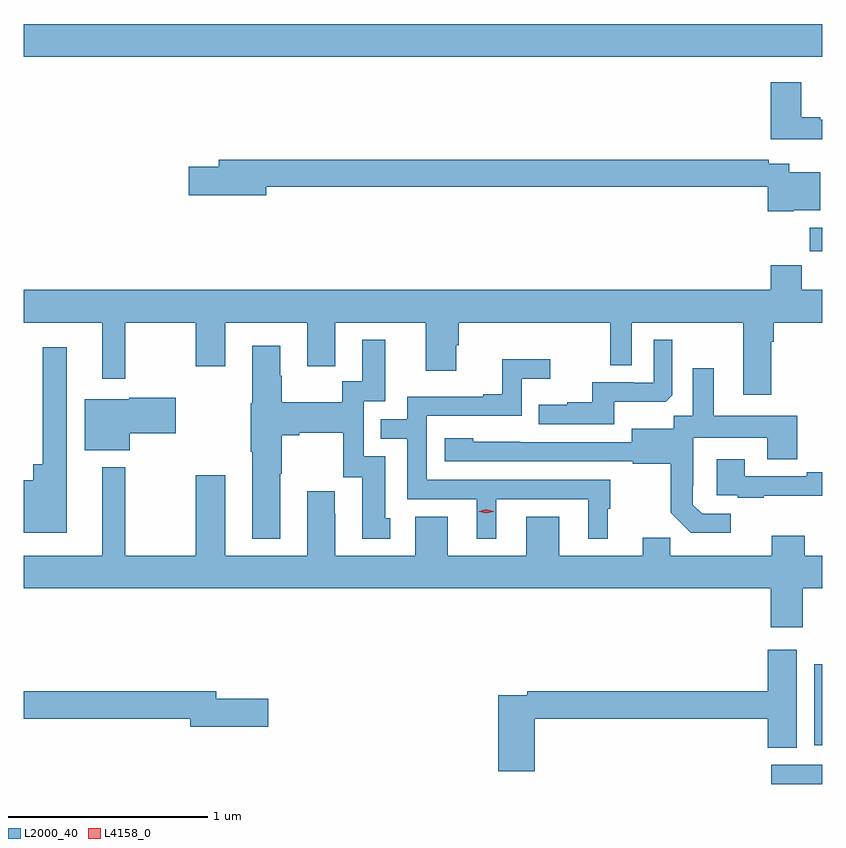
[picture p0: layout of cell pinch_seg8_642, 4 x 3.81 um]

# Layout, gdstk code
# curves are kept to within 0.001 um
import gdstk
lib = gdstk.Library(unit=1e-6, precision=1e-09)
def R(c, l, rs):  # rectangles x0, y0, x1, y1
    for r in rs: c.add(gdstk.rectangle(r[:2], r[2:], *l))
def P(c, l, *ps):  # polygons
    for p in ps: c.add(gdstk.Polygon(p, *l))
L2000_40 = (2000, 40)
L4158_0 = (4158, 0)

pinch_seg8_642 = lib.new_cell('pinch_seg8_642')
R(pinch_seg8_642, L2000_40, [(278.811,1083.552,279.065,1083.648), (279.026,1083.746,279.065,1084.153), (279.004,1086.222,279.065,1086.34), (275.065,1087.196,279.065,1087.36)])
P(pinch_seg8_642, L2000_40, [(279.065,1086.879),(279.055,1086.879),(279.055,1086.892),(278.959,1086.892),(278.959,1087.069),(278.807,1087.069),(278.807,1086.782),(279.065,1086.782)],
  [(278.922,1086.428),(279.055,1086.428),(279.055,1086.616),(278.901,1086.616),(278.901,1086.66),(278.798,1086.66),(278.798,1086.68),(276.041,1086.68),(276.041,1086.644),(275.892,1086.644),(275.892,1086.502),(276.28,1086.502),(276.28,1086.544),(278.793,1086.544),(278.793,1086.422),(278.922,1086.422)],
  [(278.809,1085.768),(278.822,1085.768),(278.822,1085.864),(279.065,1085.864),(279.065,1086.028),(278.963,1086.028),(278.963,1086.152),(278.807,1086.152),(278.807,1086.028),(275.065,1086.028),(275.065,1085.864),(275.459,1085.864),(275.459,1085.583),(275.573,1085.583),(275.573,1085.864),(275.926,1085.864),(275.926,1085.646),(276.073,1085.646),(276.073,1085.864),(276.485,1085.864),(276.485,1085.646),(276.625,1085.646),(276.625,1085.864),(277.079,1085.864),(277.079,1085.622),(277.231,1085.622),(277.231,1085.751),(277.244,1085.751),(277.244,1085.864),(278.004,1085.864),(278.004,1085.65),(278.112,1085.65),(278.112,1085.864),(278.669,1085.864),(278.669,1085.502),(278.809,1085.502)],
  [(278.023,1085.468),(278.281,1085.468),(278.313,1085.499),(278.313,1085.779),(278.22,1085.779),(278.22,1085.562),(278.12,1085.562),(278.12,1085.565),(277.913,1085.565),(277.913,1085.464),(277.789,1085.464),(277.789,1085.452),(277.645,1085.452),(277.645,1085.355),(278.023,1085.355)],
  [(276.349,1085.107),(276.357,1085.107),(276.357,1085.3),(276.445,1085.3),(276.445,1085.312),(276.665,1085.312),(276.665,1085.088),(276.761,1085.088),(276.761,1084.782),(276.901,1084.782),(276.901,1084.884),(276.877,1084.884),(276.877,1085.193),(276.768,1085.193),(276.768,1085.469),(276.877,1085.469),(276.877,1085.779),(276.761,1085.779),(276.761,1085.57),(276.66,1085.57),(276.66,1085.464),(276.357,1085.464),(276.357,1085.598),(276.349,1085.598),(276.349,1085.749),(276.209,1085.749),(276.209,1085.46),(276.202,1085.46),(276.202,1085.216),(276.209,1085.216),(276.209,1084.781),(276.349,1084.781)],
  [(275.281,1085.74),(275.16,1085.74),(275.16,1085.155),(275.111,1085.155),(275.111,1085.074),(275.065,1085.074),(275.065,1084.811),(275.281,1084.811)],
  [(277.432,1084.98),(277.892,1084.98),(277.892,1084.781),(277.99,1084.781),(277.99,1084.932),(278.002,1084.932),(278.002,1085.076),(277.083,1085.076),(277.083,1085.397),(277.56,1085.397),(277.56,1085.582),(277.702,1085.582),(277.702,1085.681),(277.462,1085.681),(277.462,1085.506),(277.367,1085.506),(277.367,1085.493),(276.987,1085.493),(276.987,1085.379),(276.853,1085.379),(276.853,1085.283),(276.987,1085.283),(276.987,1084.98),(277.334,1084.98),(277.334,1084.781),(277.432,1084.781)],
  [(278.608,1084.905),(278.463,1084.905),(278.416,1084.952),(278.416,1085.047),(278.418,1085.047),(278.418,1085.288),(278.789,1085.288),(278.789,1085.179),(278.941,1085.179),(278.941,1085.398),(278.521,1085.398),(278.521,1085.635),(278.417,1085.635),(278.417,1085.396),(278.322,1085.396),(278.322,1085.332),(278.111,1085.332),(278.111,1085.265),(277.317,1085.266),(277.317,1085.284),(277.173,1085.284),(277.173,1085.169),(278.115,1085.169),(278.115,1085.157),(278.307,1085.157),(278.307,1084.911),(278.407,1084.811),(278.608,1084.811)],
  [(275.596,1085.309),(275.827,1085.309),(275.827,1085.487),(275.592,1085.487),(275.592,1085.479),(275.369,1085.479),(275.369,1085.225),(275.596,1085.225)],
  [(278.773,1084.997),(279.065,1084.997),(279.065,1085.113),(278.987,1085.113),(278.987,1085.094),(278.677,1085.094),(278.677,1085.179),(278.537,1085.179),(278.537,1084.998),(278.641,1084.998),(278.641,1084.986),(278.773,1084.986)],
  [(278.967,1084.532),(279.065,1084.532),(279.065,1084.696),(278.977,1084.696),(278.977,1084.795),(278.813,1084.795),(278.813,1084.696),(278.303,1084.696),(278.303,1084.787),(278.165,1084.787),(278.165,1084.696),(277.747,1084.696),(277.747,1084.891),(277.583,1084.891),(277.583,1084.696),(277.189,1084.696),(277.189,1084.891),(277.025,1084.891),(277.025,1084.696),(276.625,1084.696),(276.625,1084.907),(276.622,1084.907),(276.622,1085.02),(276.485,1085.02),(276.485,1084.696),(276.073,1084.696),(276.073,1085.098),(275.926,1085.098),(275.926,1084.696),(275.573,1084.696),(275.573,1085.14),(275.459,1085.14),(275.459,1084.696),(275.065,1084.696),(275.065,1084.532),(278.807,1084.532),(278.807,1084.338),(278.967,1084.338)],
  [(277.625,1083.88),(278.792,1083.88),(278.792,1083.733),(278.938,1083.733),(278.938,1084.225),(278.792,1084.225),(278.792,1084.016),(277.588,1084.016),(277.588,1083.996),(277.442,1083.996),(277.442,1083.615),(277.625,1083.615)],
  [(276.289,1083.98),(276.028,1083.98),(276.028,1084.016),(275.065,1084.016),(275.065,1083.88),(275.9,1083.88),(275.9,1083.838),(276.289,1083.838)])
P(pinch_seg8_642, L4158_0, [(277.383,1084.908),(277.348,1084.917),(277.347,1084.918),(277.348,1084.918),(277.383,1084.928),(277.418,1084.918),(277.419,1084.918),(277.418,1084.917)])

lib.write_gds('pinch_seg8_642.gds')
